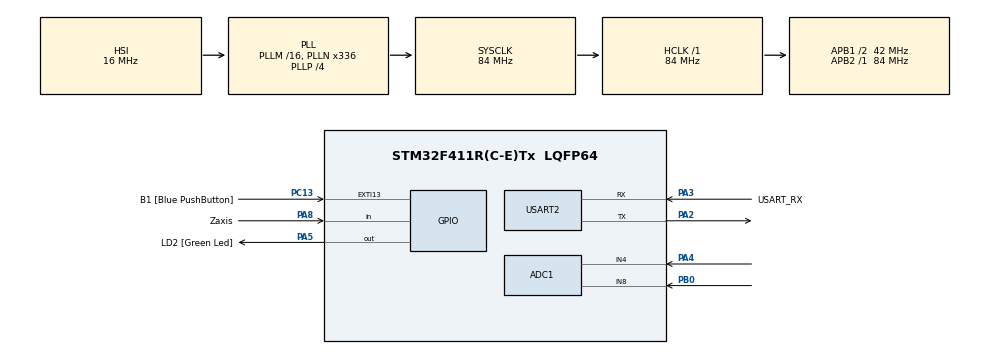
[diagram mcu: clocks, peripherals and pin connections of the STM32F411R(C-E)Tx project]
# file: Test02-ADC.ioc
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ADC1.Channel-6\#ChannelRegularConversion=ADC_CHANNEL_8
ADC1.Channel-7\#ChannelRegularConversion=ADC_CHANNEL_8
ADC1.DMAContinuousRequests=ENABLE
ADC1.DiscontinuousConvMode=ENABLE
ADC1.EOCSelection=ADC_EOC_SEQ_CONV
ADC1.ExternalTrigConv=ADC_EXTERNALTRIGCONV_T3_TRGO
ADC1.ExternalTrigConvEdge=ADC_EXTERNALTRIGCONVEDGE_FALLING
ADC1.NbrOfConversion=2
ADC1.NbrOfConversionFlag=1
ADC1.NbrOfDiscConversion=1
ADC1.Rank-6\#ChannelRegularConversion=1
ADC1.Rank-7\#ChannelRegularConversion=2
ADC1.SamplingTime-6\#ChannelRegularConversion=ADC_SAMPLETIME_3CYCLES
ADC1.SamplingTime-7\#ChannelRegularConversion=ADC_SAMPLETIME_3CYCLES
ADC1.ScanConvMode=ENABLE
ADC1.master=1
Dma.ADC1.0.Direction=DMA_PERIPH_TO_MEMORY
Dma.ADC1.0.FIFOMode=DMA_FIFOMODE_DISABLE
Dma.ADC1.0.Instance=DMA2_Stream0
Dma.ADC1.0.MemDataAlignment=DMA_MDATAALIGN_HALFWORD
Dma.ADC1.0.MemInc=DMA_MINC_ENABLE
Dma.ADC1.0.Mode=DMA_CIRCULAR
Dma.ADC1.0.PeriphDataAlignment=DMA_PDATAALIGN_HALFWORD
Dma.ADC1.0.PeriphInc=DMA_PINC_DISABLE
Dma.ADC1.0.Priority=DMA_PRIORITY_LOW
Dma.Request0=ADC1
Mcu.Family=STM32F4
Mcu.Name=STM32F411R(C-E)Tx
Mcu.Package=LQFP64
NVIC.DMA2_Stream0_IRQn=true\:0\:0\:false\:false\:true\:false\:true\:true
NVIC.PriorityGroup=NVIC_PRIORITYGROUP_0
PA13.GPIO_Label=TMS
PA13.Mode=Serial_Wire
PA13.Signal=SYS_JTMS-SWDIO
PA14.GPIO_Label=TCK
PA14.Mode=Serial_Wire
PA14.Signal=SYS_JTCK-SWCLK
PA2.Mode=Asynchronous
PA2.Signal=USART2_TX
PA3.GPIO_Label=USART_RX
PA3.Mode=Asynchronous
PA3.Signal=USART2_RX
PA4.Signal=ADCx_IN4
PA5.GPIO_Label=LD2 [Green Led]
PA5.Signal=GPIO_Output
PA8.GPIO_Label=Zaxis
PA8.GPIO_PuPd=GPIO_PULLUP
PA8.Signal=GPIO_Input
PB0.Signal=ADCx_IN8
PB3.GPIO_Label=SWO
PB3.Signal=SYS_JTDO-SWO
PC13-ANTI_TAMP.GPIO_Label=B1 [Blue PushButton]
PC13-ANTI_TAMP.GPIO_ModeDefaultEXTI=GPIO_MODE_IT_FALLING
PC13-ANTI_TAMP.Signal=GPXTI13
PC14-OSC32_IN.Mode=LSE-External-Oscillator
PC14-OSC32_IN.Signal=RCC_OSC32_IN
PC15-OSC32_OUT.Mode=LSE-External-Oscillator
PC15-OSC32_OUT.Signal=RCC_OSC32_OUT
PH0\ -\ OSC_IN.Mode=HSE-External-Clock-Source
PH0\ -\ OSC_IN.Signal=RCC_OSC_IN
PH1\ -\ OSC_OUT.Mode=HSE-External-Clock-Source
PH1\ -\ OSC_OUT.Signal=RCC_OSC_OUT
ProjectManager.HeapSize=0x200
ProjectManager.StackSize=0x400
ProjectManager.TargetToolchain=STM32CubeIDE
RCC.48MHZClocksFreq_Value=84000000
RCC.AHBFreq_Value=84000000
RCC.APB1CLKDivider=RCC_HCLK_DIV2
RCC.APB1Freq_Value=42000000
RCC.APB1TimFreq_Value=84000000
RCC.APB2Freq_Value=84000000
RCC.APB2TimFreq_Value=84000000
RCC.CortexFreq_Value=84000000
RCC.FLatency-AdvancedSettings=FLASH_LATENCY_2
RCC.HCLKFreq_Value=84000000
RCC.HSE_VALUE=8000000
RCC.HSI_VALUE=16000000
RCC.PLLN=336
RCC.PLLP=RCC_PLLP_DIV4
RCC.SYSCLKFreq_VALUE=84000000
RCC.SYSCLKSource=RCC_SYSCLKSOURCE_PLLCLK
RCC.VCOOutputFreq_Value=336000000
SH.ADCx_IN4.0=ADC1_IN4,IN4
SH.ADCx_IN8.0=ADC1_IN8,IN8
TIM2.Prescaler=84-1
TIM3.Period=5000-1
TIM3.Prescaler=8400-1
TIM3.TIM_MasterOutputTrigger=TIM_TRGO_UPDATE
USART2.VirtualMode=VM_ASYNC
VP_TIM2_VS_ClockSourceINT.Mode=Internal
VP_TIM3_VS_ClockSourceINT.Mode=Internal
board=NUCLEO-F411RE

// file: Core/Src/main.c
/* USER CODE BEGIN Header */
/**
  ******************************************************************************
  * @file           : main.c
  * @brief          : Main program body
  ******************************************************************************
  * @attention
  *
  * Copyright (c) 2023 STMicroelectronics.
  * All rights reserved.
  *
  * This software is licensed under terms that can be found in the LICENSE file
  * in the root directory of this software component.
  * If no LICENSE file comes with this software, it is provided AS-IS.
  *
  ******************************************************************************
  */
/* USER CODE END Header */
#include "main.h"

ADC_HandleTypeDef hadc1;
DMA_HandleTypeDef hdma_adc1;

TIM_HandleTypeDef htim2;
TIM_HandleTypeDef htim3;

UART_HandleTypeDef huart2;

/* USER CODE BEGIN PV */
#include "../../../myLib/myLib.c"
/* USER CODE END PV */

void SystemClock_Config(void);
static void MX_GPIO_Init(void);
static void MX_DMA_Init(void);
static void MX_ADC1_Init(void);
static void MX_USART2_UART_Init(void);
static void MX_TIM2_Init(void);
static void MX_TIM3_Init(void);

/* USER CODE BEGIN 0 */
void myDelay(int ms)
{
  for(int j=0;j<ms;j++)
   for(int i=0;i<500;i++)
     noOp();
}

int GetAdcValue()
{
      HAL_ADC_Start(&hadc1);// start sampling
      //HAL_StatusTypeDef HAL_ADC_Start(ADC_HandleTypeDef* hadc)
      HAL_ADC_PollForConversion(&hadc1,100); //wait
      //HAL_StatusTypeDef HAL_ADC_PollForConversion(ADC_HandleTypeDef* hadc, uint32_t Timeout)
      int val= HAL_ADC_GetValue(&hadc1); //get
      return val;

}

short int dValue[2]; //char(1) short(2) int(4) long(4)
int  xValue = -1; // ADC 에서 생성할  수 없는 값이기 때문에. 여기서 Value는 아무런 값도 설정 되어 있지 않다는 의미로 -1로 표시.
int  yValue = -1;
int n = 0;
void noOp() {}
void HAL_ADC_ConvCpltCallback(ADC_HandleTypeDef* hadc)
{
  //int Value = HAL_ADC_GetValue(&hadc1); //get
  //if(n == 0)  { xValue = Value;n++;}
  //else
 // {
  //  yValue = Value;
  //  n=0;
 //   printf("(intr)X Value : %d\r\n",xValue); // data 0~4090
  //  printf("(intr)Y Value : %d\r\n",yValue); // data 0~4090
  //  printf("(intr)Z Value : %d\r\n\n",HAL_GPIO_ReadPin(Zaxis_GPIO_Port,Zaxis_Pin)); // data 0~4090
 // }
  //myDelay(1000); //HAL_Delay(500);
  //HAL_ADC_Start_IT(&hadc1);
}

/* USER CODE END 0 */

int main(void)
{

  /* MCU Configuration--------------------------------------------------------*/

  /* Reset of all peripherals, Initializes the Flash interface and the Systick. */
  HAL_Init();

  /* Configure the system clock */
  SystemClock_Config();

  /* Initialize all configured peripherals */
  MX_GPIO_Init();
  MX_DMA_Init();
  MX_ADC1_Init();
  MX_USART2_UART_Init();
  MX_TIM2_Init();
  MX_TIM3_Init();
  /* USER CODE BEGIN 2 */
//HAL_TIM_Base_Start(&htim2);
  printf("\033[1J\033[1;1HProgram Restart...\r\n");

HAL_TIM_Base_Start(&htim3);
 // htim2.Instance->CNT =0;
 // for(int i=0;i<50;i++) noOp();
 // volatile int tt = htim2.Instance->CNT;

 // printf("noOp function calling time: %d\r\n,tt");

  //HAL_ADC_Start_IT(&hadc1);
  HAL_ADC_Start_DMA(&hadc1,(int*)dValue,2);
  printf("ADC DMA started...\r\n");
  /* USER CODE END 2 */

  /* Infinite loop */
  while (1)
  {

    /* USER CODE BEGIN 3 */
    printf("X Value : %d\r\n",dValue[0]); // data 0~4090
    printf("Y Value : %d\r\n",dValue[1]); // data 0~4090
    printf("Z Value : %d\r\n\n",HAL_GPIO_ReadPin(Zaxis_GPIO_Port,Zaxis_Pin)); // data 0~4090
    HAL_Delay(500);

  }
  /* USER CODE END 3 */
}

void SystemClock_Config(void)
{
  RCC_OscInitTypeDef RCC_OscInitStruct = {0};
  RCC_ClkInitTypeDef RCC_ClkInitStruct = {0};

  /** Configure the main internal regulator output voltage
  */
  __HAL_RCC_PWR_CLK_ENABLE();
  __HAL_PWR_VOLTAGESCALING_CONFIG(PWR_REGULATOR_VOLTAGE_SCALE1);

  /** Initializes the RCC Oscillators according to the specified parameters
  * in the RCC_OscInitTypeDef structure.
  */
  RCC_OscInitStruct.OscillatorType = RCC_OSCILLATORTYPE_HSI;
  RCC_OscInitStruct.HSIState = RCC_HSI_ON;
  RCC_OscInitStruct.HSICalibrationValue = RCC_HSICALIBRATION_DEFAULT;
  RCC_OscInitStruct.PLL.PLLState = RCC_PLL_ON;
  RCC_OscInitStruct.PLL.PLLSource = RCC_PLLSOURCE_HSI;
  RCC_OscInitStruct.PLL.PLLM = 16;
  RCC_OscInitStruct.PLL.PLLN = 336;
  RCC_OscInitStruct.PLL.PLLP = RCC_PLLP_DIV4;
  RCC_OscInitStruct.PLL.PLLQ = 4;
  if (HAL_RCC_OscConfig(&RCC_OscInitStruct) != HAL_OK)
  {
    Error_Handler();
  }

  /** Initializes the CPU, AHB and APB buses clocks
  */
  RCC_ClkInitStruct.ClockType = RCC_CLOCKTYPE_HCLK|RCC_CLOCKTYPE_SYSCLK
                              |RCC_CLOCKTYPE_PCLK1|RCC_CLOCKTYPE_PCLK2;
  RCC_ClkInitStruct.SYSCLKSource = RCC_SYSCLKSOURCE_PLLCLK;
  RCC_ClkInitStruct.AHBCLKDivider = RCC_SYSCLK_DIV1;
  RCC_ClkInitStruct.APB1CLKDivider = RCC_HCLK_DIV2;
  RCC_ClkInitStruct.APB2CLKDivider = RCC_HCLK_DIV1;

  if (HAL_RCC_ClockConfig(&RCC_ClkInitStruct, FLASH_LATENCY_2) != HAL_OK)
  {
    Error_Handler();
  }
}

static void MX_ADC1_Init(void)
{

  ADC_ChannelConfTypeDef sConfig = {0};

  /** Configure the global features of the ADC (Clock, Resolution, Data Alignment and number of conversion)
  */
  hadc1.Instance = ADC1;
  hadc1.Init.ClockPrescaler = ADC_CLOCK_SYNC_PCLK_DIV4;
  hadc1.Init.Resolution = ADC_RESOLUTION_12B;
  hadc1.Init.ScanConvMode = ENABLE;
  hadc1.Init.ContinuousConvMode = DISABLE;
  hadc1.Init.DiscontinuousConvMode = ENABLE;
  hadc1.Init.NbrOfDiscConversion = 1;
  hadc1.Init.ExternalTrigConvEdge = ADC_EXTERNALTRIGCONVEDGE_FALLING;
  hadc1.Init.ExternalTrigConv = ADC_EXTERNALTRIGCONV_T3_TRGO;
  hadc1.Init.DataAlign = ADC_DATAALIGN_RIGHT;
  hadc1.Init.NbrOfConversion = 2;
  hadc1.Init.DMAContinuousRequests = ENABLE;
  hadc1.Init.EOCSelection = ADC_EOC_SEQ_CONV;
  if (HAL_ADC_Init(&hadc1) != HAL_OK)
  {
    Error_Handler();
  }

  /** Configure for the selected ADC regular channel its corresponding rank in the sequencer and its sample time.
  */
  sConfig.Channel = ADC_CHANNEL_8;
  sConfig.Rank = 1;
  sConfig.SamplingTime = ADC_SAMPLETIME_3CYCLES;
  if (HAL_ADC_ConfigChannel(&hadc1, &sConfig) != HAL_OK)
  {
    Error_Handler();
  }

  /** Configure for the selected ADC regular channel its corresponding rank in the sequencer and its sample time.
  */
  sConfig.Rank = 2;
  if (HAL_ADC_ConfigChannel(&hadc1, &sConfig) != HAL_OK)
  {
    Error_Handler();
  }

}

static void MX_TIM2_Init(void)
{

  TIM_ClockConfigTypeDef sClockSourceConfig = {0};
  TIM_MasterConfigTypeDef sMasterConfig = {0};

  htim2.Instance = TIM2;
  htim2.Init.Prescaler = 84-1;
  htim2.Init.CounterMode = TIM_COUNTERMODE_UP;
  htim2.Init.Period = 4294967295;
  htim2.Init.ClockDivision = TIM_CLOCKDIVISION_DIV1;
  htim2.Init.AutoReloadPreload = TIM_AUTORELOAD_PRELOAD_DISABLE;
  if (HAL_TIM_Base_Init(&htim2) != HAL_OK)
  {
    Error_Handler();
  }
  sClockSourceConfig.ClockSource = TIM_CLOCKSOURCE_INTERNAL;
  if (HAL_TIM_ConfigClockSource(&htim2, &sClockSourceConfig) != HAL_OK)
  {
    Error_Handler();
  }
  sMasterConfig.MasterOutputTrigger = TIM_TRGO_RESET;
  sMasterConfig.MasterSlaveMode = TIM_MASTERSLAVEMODE_DISABLE;
  if (HAL_TIMEx_MasterConfigSynchronization(&htim2, &sMasterConfig) != HAL_OK)
  {
    Error_Handler();
  }

}

static void MX_TIM3_Init(void)
{

  TIM_ClockConfigTypeDef sClockSourceConfig = {0};
  TIM_MasterConfigTypeDef sMasterConfig = {0};

  htim3.Instance = TIM3;
  htim3.Init.Prescaler = 8400-1;
  htim3.Init.CounterMode = TIM_COUNTERMODE_UP;
  htim3.Init.Period = 5000-1;
  htim3.Init.ClockDivision = TIM_CLOCKDIVISION_DIV1;
  htim3.Init.AutoReloadPreload = TIM_AUTORELOAD_PRELOAD_DISABLE;
  if (HAL_TIM_Base_Init(&htim3) != HAL_OK)
  {
    Error_Handler();
  }
  sClockSourceConfig.ClockSource = TIM_CLOCKSOURCE_INTERNAL;
  if (HAL_TIM_ConfigClockSource(&htim3, &sClockSourceConfig) != HAL_OK)
  {
    Error_Handler();
  }
  sMasterConfig.MasterOutputTrigger = TIM_TRGO_UPDATE;
  sMasterConfig.MasterSlaveMode = TIM_MASTERSLAVEMODE_DISABLE;
  if (HAL_TIMEx_MasterConfigSynchronization(&htim3, &sMasterConfig) != HAL_OK)
  {
    Error_Handler();
  }

}

static void MX_USART2_UART_Init(void)
{

  huart2.Instance = USART2;
  huart2.Init.BaudRate = 115200;
  huart2.Init.WordLength = UART_WORDLENGTH_8B;
  huart2.Init.StopBits = UART_STOPBITS_1;
  huart2.Init.Parity = UART_PARITY_NONE;
  huart2.Init.Mode = UART_MODE_TX_RX;
  huart2.Init.HwFlowCtl = UART_HWCONTROL_NONE;
  huart2.Init.OverSampling = UART_OVERSAMPLING_16;
  if (HAL_UART_Init(&huart2) != HAL_OK)
  {
    Error_Handler();
  }

}

static void MX_DMA_Init(void)
{

  /* DMA controller clock enable */
  __HAL_RCC_DMA2_CLK_ENABLE();

  /* DMA interrupt init */
  /* DMA2_Stream0_IRQn interrupt configuration */
  HAL_NVIC_SetPriority(DMA2_Stream0_IRQn, 0, 0);
  HAL_NVIC_EnableIRQ(DMA2_Stream0_IRQn);

}

static void MX_GPIO_Init(void)
{
  GPIO_InitTypeDef GPIO_InitStruct = {0};

  /* GPIO Ports Clock Enable */
  __HAL_RCC_GPIOC_CLK_ENABLE();
  __HAL_RCC_GPIOH_CLK_ENABLE();
  __HAL_RCC_GPIOA_CLK_ENABLE();
  __HAL_RCC_GPIOB_CLK_ENABLE();

  /*Configure GPIO pin Output Level */
  HAL_GPIO_WritePin(LD2_GPIO_Port, LD2_Pin, GPIO_PIN_RESET);

  /*Configure GPIO pin : B1_Pin */
  GPIO_InitStruct.Pin = B1_Pin;
  GPIO_InitStruct.Mode = GPIO_MODE_IT_FALLING;
  GPIO_InitStruct.Pull = GPIO_NOPULL;
  HAL_GPIO_Init(B1_GPIO_Port, &GPIO_InitStruct);

  /*Configure GPIO pin : LD2_Pin */
  GPIO_InitStruct.Pin = LD2_Pin;
  GPIO_InitStruct.Mode = GPIO_MODE_OUTPUT_PP;
  GPIO_InitStruct.Pull = GPIO_NOPULL;
  GPIO_InitStruct.Speed = GPIO_SPEED_FREQ_LOW;
  HAL_GPIO_Init(LD2_GPIO_Port, &GPIO_InitStruct);

  /*Configure GPIO pin : Zaxis_Pin */
  GPIO_InitStruct.Pin = Zaxis_Pin;
  GPIO_InitStruct.Mode = GPIO_MODE_INPUT;
  GPIO_InitStruct.Pull = GPIO_PULLUP;
  HAL_GPIO_Init(Zaxis_GPIO_Port, &GPIO_InitStruct);

}

void Error_Handler(void)
{
  __disable_irq();
  while (1)
  {
  }
}
